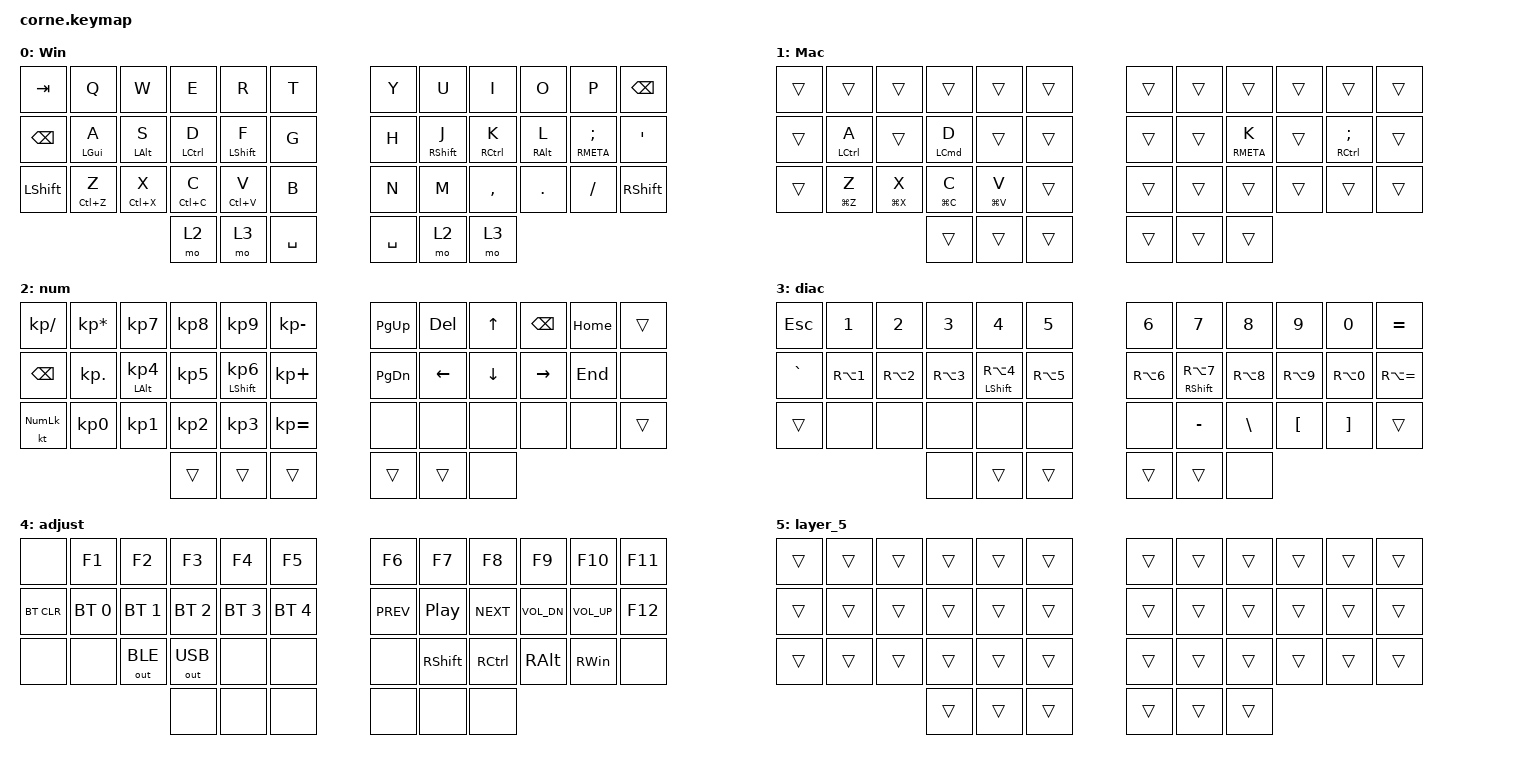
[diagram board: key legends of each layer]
/*
 * Copyright (c) 2020 The ZMK Contributors
 *
 * SPDX-License-Identifier: MIT
 */

#include <behaviors.dtsi>
#include <dt-bindings/zmk/bt.h>
#include <dt-bindings/zmk/keys.h>
#include <dt-bindings/zmk/outputs.h>

#define BASE 0
#define LOWER 1
#define RAISE 2
#define ADJUST 3

/ {
    // Activate ADJUST layer by pressing raise and lower

    conditional_layers {
        compatible = "zmk,conditional-layers";

        adjust {
            if-layers = <2 3>;
            then-layer = <4>;
        };
    };

    behaviors {
        hml: hml {
            compatible = "zmk,behavior-hold-tap";
            label = "HML";
            bindings = <&kp>, <&kp>;

            #binding-cells = <2>;
            tapping-term-ms = <200>;
            quick-tap-ms = <125>;
            require-prior-idle-ms = <50>;
            flavor = "tap-preferred";
            hold-trigger-key-positions = <50 51 52 53 54 55 56 57 58 59 6 7 8 9 10 11 18 19 20 21 22 23 30 31 32 33 34 35 44 45 46 47 48 49 36 37 38 39 40 41>;
            hold-trigger-on-release;
        };

        hmr: hmr {
            compatible = "zmk,behavior-hold-tap";
            label = "HMR";
            bindings = <&kp>, <&kp>;

            #binding-cells = <2>;
            tapping-term-ms = <200>;
            quick-tap-ms = <125>;
            require-prior-idle-ms = <50>;
            flavor = "tap-preferred";
            hold-trigger-key-positions = <55 56 57 58 59 0 1 2 3 4 5 12 13 14 15 16 17 24 25 26 27 28 29 36 37 38 39 40 41 42 50 51 52 53 54>;
            hold-trigger-on-release;
        };

        smart_caps: smart_caps {
            compatible = "zmk,behavior-hold-tap";
            label = "SMART_CAPS";
            bindings = <&kp>, <&caps_word>;

            #binding-cells = <2>;
            tapping-term-ms = <250>;
            flavor = "tap-preferred";
            require-prior-idle-ms = <50>;
        };

        sml: sml {
            compatible = "zmk,behavior-hold-tap";
            label = "SML";
            bindings = <&kp>, <&kp>;

            #binding-cells = <2>;
            tapping-term-ms = <200>;
            quick-tap-ms = <125>;
            require-prior-idle-ms = <50>;
            flavor = "balanced";
            hold-trigger-on-release;
        };

        smr: smr {
            compatible = "zmk,behavior-hold-tap";
            label = "SMR";
            bindings = <&kp>, <&kp>;

            #binding-cells = <2>;
            tapping-term-ms = <200>;
            quick-tap-ms = <125>;
            require-prior-idle-ms = <50>;
            flavor = "balanced";
            hold-trigger-on-release;
        };
    };

    combos {
        compatible = "zmk,combos";

        smart-cap {
            bindings = <&smart_caps CAPSLOCK 0>;
            key-positions = <16 19>;
        };
/*
        toggle-mac {
            bindings = <&tog 1>;
            key-positions = <40 41>;
        };

        tog-numpad {
            bindings = <&tog 2>;
            key-positions = <36 37>;
        };
*/
        lenter {
            bindings = <&kp ENTER>;
            key-positions = <15 16>;
            require-prior-idle-ms = <150>;
        };

        renter {
            bindings = <&kp ENTER>;
            key-positions = <19 20>;
            require-prior-idle-ms = <150>;
        };

        off {
            bindings = <&soft_off>;
            key-positions = <0 11 35 24>;
        };
    };

    keymap {
        compatible = "zmk,keymap";

        win {
            display-name = "Win";

            bindings = <
&kp TAB        &kp Q            &kp W            &kp E         &kp R              &kp T        &kp Y      &kp U          &kp I         &kp O        &kp P            &kp BSPC
&kp BACKSPACE  &hml LEFT_GUI A  &hml LEFT_ALT S  &hml LCTRL D  &sml LEFT_SHIFT F  &kp G        &kp H      &smr RSHIFT J  &hmr RCTRL K  &hmr RALT L  &hmr RMETA SEMI  &kp SQT
&kp LSHFT      &hml LC(Z) Z     &hml LC(X) X     &hml LC(C) C  &hml LC(V) V       &kp B        &kp N      &kp M          &kp COMMA     &kp DOT      &kp FSLH         &kp RSHFT
                                                 &mo 2         &mo 3              &kp SPACE    &kp SPACE  &mo 2          &mo 3
            >;
        };

        Alt-Mac {
            display-name = "Mac";

            bindings = <
&trans  &trans        &trans        &trans        &trans        &trans    &trans  &trans  &trans        &trans  &trans                &trans
&trans  &hml LCTRL A  &trans        &hml LCMD D   &trans        &trans    &trans  &trans  &hmr RMETA K  &trans  &hmr RCTRL SEMICOLON  &trans
&trans  &hml LG(Z) Z  &hml LG(X) X  &hml LG(C) C  &hml LG(V) V  &trans    &trans  &trans  &trans        &trans  &trans                &trans
                                    &trans        &trans        &trans    &trans  &trans  &trans
            >;
        };

        raise_layer {
            display-name = "num";

            bindings = <
&kp KP_SLASH    &kp KP_MULTIPLY  &kp KP_NUMBER_7            &kp KP_N8        &kp KP_N9                &kp KP_MINUS    &kp PG_UP  &kp DEL   &kp UP    &kp BACKSPACE  &kp HOME  &trans
&kp BACKSPACE    &kp KP_DOT       &hml LEFT_ALT KP_NUMBER_4  &kp KP_NUMBER_5  &hml LSHIFT KP_NUMBER_6  &kp KP_PLUS     &kp PG_DN  &kp LEFT  &kp DOWN  &kp RIGHT      &kp END   &none
&kt KP_NUMLOCK  &kp KP_N0        &kp KP_NUMBER_1            &kp KP_N2        &kp KP_NUMBER_3          &kp KP_EQUAL    &none      &none     &none     &none          &none     &trans
                                                            &trans           &trans                   &trans          &trans     &trans    &none
            >;
        };

        alt-lower {
            display-name = "diac";

            bindings = <
&kp ESCAPE  &kp NUMBER_1      &kp NUMBER_2      &kp NUMBER_3      &kp NUMBER_4                  &kp N5        &kp NUMBER_6      &kp N7                   &kp N8         &kp N9            &kp N0             &kp EQUAL
&kp GRAVE   &kp RA(NUMBER_1)  &kp RA(NUMBER_2)  &kp RA(NUMBER_3)  &hml LEFT_SHIFT RA(NUMBER_4)  &kp RA(N5)    &kp RA(NUMBER_6)  &hmr RIGHT_SHIFT RA(N7)  &kp RA(N8)     &kp RA(N9)        &kp RA(N0)         &kp RA(EQUAL)
&trans      &none             &none             &none             &none                         &none         &none             &kp MINUS                &kp BACKSLASH  &kp LEFT_BRACKET  &kp RIGHT_BRACKET  &trans
                                                &none             &trans                        &trans        &trans            &trans                   &none
            >;
        };

        adjust_layer {
            display-name = "adjust";

            bindings = <
&none       &kp F1        &kp F2        &kp F3        &kp F4        &kp F5          &kp F6      &kp F7            &kp F8      &kp F9         &kp F10        &kp F11
&bt BT_CLR  &bt BT_SEL 0  &bt BT_SEL 1  &bt BT_SEL 2  &bt BT_SEL 3  &bt BT_SEL 4    &kp C_PREV  &kp C_PLAY_PAUSE  &kp C_NEXT  &kp C_VOL_DN   &kp C_VOL_UP   &kp F12
&none       &none         &out OUT_BLE  &out OUT_USB  &none         &none           &none       &kp RIGHT_SHIFT   &kp RCTRL   &kp RIGHT_ALT  &kp RIGHT_WIN  &none
                                                      &none         &none           &none       &none             &none       &none
            >;
        };

        layer_5 {
            display-name = "layer_5";

            bindings = <
&trans  &trans  &trans  &trans  &trans  &trans    &trans  &trans  &trans  &trans  &trans  &trans
&trans  &trans  &trans  &trans  &trans  &trans    &trans  &trans  &trans  &trans  &trans  &trans
&trans  &trans  &trans  &trans  &trans  &trans    &trans  &trans  &trans  &trans  &trans  &trans
                        &trans  &trans  &trans    &trans  &trans  &trans
            >;
        };
    };
};
